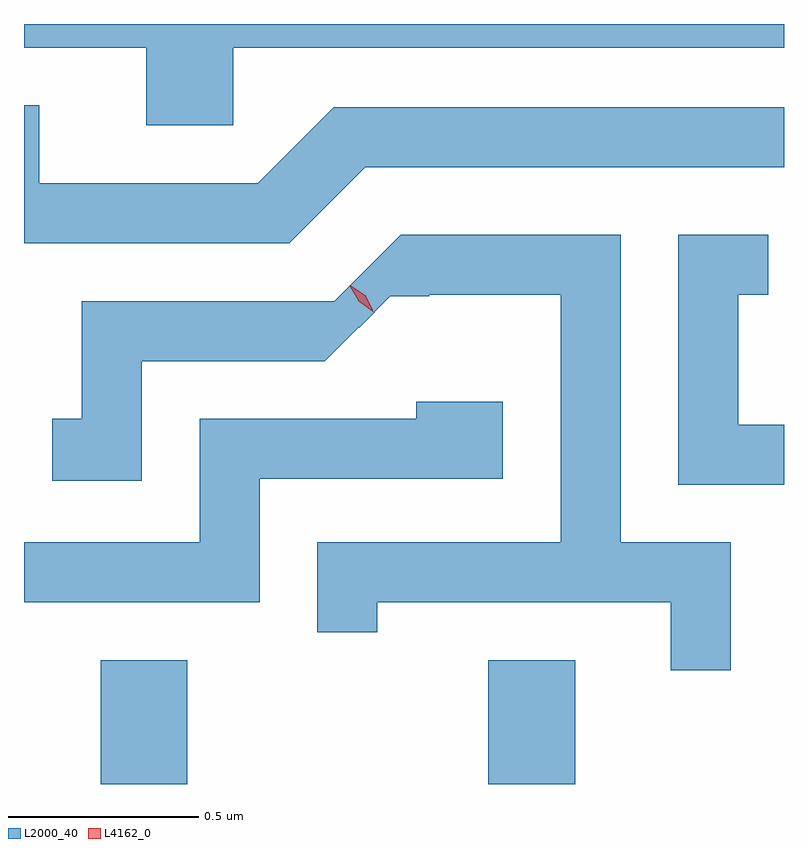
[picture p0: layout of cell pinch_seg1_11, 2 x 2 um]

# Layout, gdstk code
import gdstk
lib = gdstk.Library(unit=1e-6, precision=1e-09)
def R(c, l, rs):  # rectangles x0, y0, x1, y1
    for r in rs: c.add(gdstk.rectangle(r[:2], r[2:], *l))
def P(c, l, *ps):  # polygons
    for p in ps: c.add(gdstk.Polygon(p, *l))
L2000_40 = (2000, 40)
L4162_0 = (4162, 0)

pinch_seg1_11 = lib.new_cell('pinch_seg1_11')
R(pinch_seg1_11, L2000_40, [(1495.471,857.678,1495.699,858.004), (1496.491,857.678,1496.719,858.004)])
P(pinch_seg1_11, L2000_40, [(1495.819,859.616),(1497.269,859.616),(1497.269,859.678),(1495.269,859.678),(1495.269,859.616),(1495.591,859.616),(1495.591,859.411),(1495.819,859.411)],
  [(1496.167,859.301),(1497.269,859.301),(1497.269,859.459),(1496.084,859.459),(1495.884,859.259),(1495.309,859.259),(1495.309,859.464),(1495.269,859.464),(1495.269,859.101),(1495.967,859.101)],
  [(1497.269,858.624),(1497.149,858.624),(1497.149,858.966),(1497.228,858.966),(1497.228,859.124),(1496.991,859.124),(1496.991,858.466),(1497.269,858.466)],
  [(1497.129,858.314),(1496.839,858.314),(1496.839,859.124),(1496.26,859.124),(1496.085,858.949),(1495.421,858.949),(1495.421,858.639),(1495.343,858.639),(1495.343,858.476),(1495.579,858.476),(1495.579,858.791),(1496.061,858.791),(1496.15,858.88),(1496.151,858.879),(1496.233,858.962),(1496.336,858.962),(1496.336,858.966),(1496.681,858.966),(1496.681,858.314),(1496.041,858.314),(1496.041,858.078),(1496.199,858.078),(1496.199,858.156),(1496.971,858.156),(1496.971,857.978),(1497.129,857.978)],
  [(1495.889,858.481),(1496.529,858.481),(1496.529,858.684),(1496.301,858.684),(1496.301,858.639),(1495.731,858.639),(1495.731,858.314),(1495.269,858.314),(1495.269,858.156),(1495.889,858.156)])
P(pinch_seg1_11, L4162_0, [(1496.189,858.92),(1496.15,858.948),(1496.126,858.989),(1496.126,858.99),(1496.127,858.99),(1496.166,858.961),(1496.19,858.92),(1496.19,858.92)],
  [(1496.187,858.925),(1496.152,858.95),(1496.132,858.988),(1496.132,858.988),(1496.132,858.988),(1496.167,858.964),(1496.187,858.926),(1496.187,858.925)])

lib.write_gds('pinch_seg1_11.gds')
